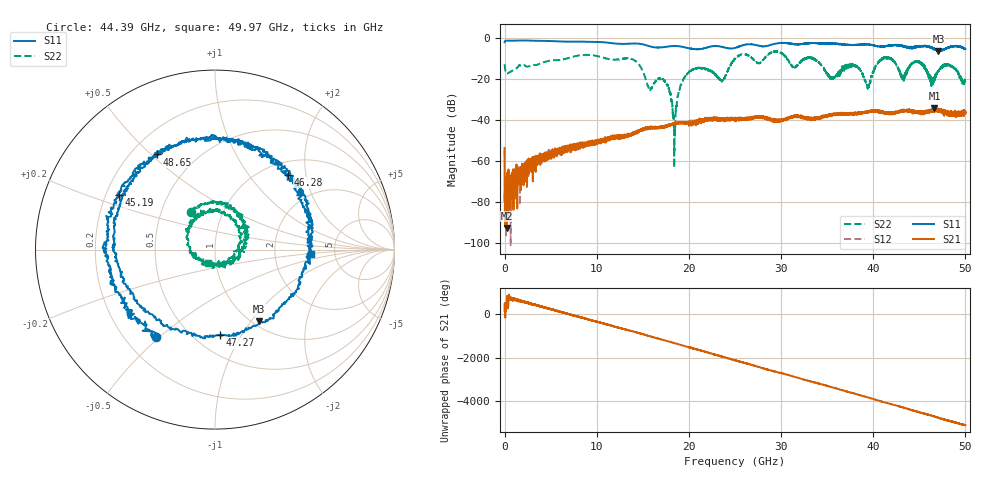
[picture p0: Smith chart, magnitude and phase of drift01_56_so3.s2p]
!Created with skrf (http://scikit-rf.org).
# Hz S RI R 50.0
!freq ReS11 ImS11 ReS21 ImS21 ReS12 ImS12 ReS22 ImS22
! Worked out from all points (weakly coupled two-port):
!   10001 points, 300 kHz to 50 GHz, reference 50 ohm
!   highest |S21| = -34.34 dB at 46.64 GHz (marker M1); lowest = -92.7 dB at 235.3 MHz (marker M2)
!   lowest |S11| = -6.6 dB at 47.08 GHz (marker M3), VSWR 2.77, Z = 53.6 - j54.9 ohm
!   |S11| at or under -10 dB: nowhere
!   |S22| runs from -63.3 to -6.6 dB; largest |S21 - S12| = 0.0043
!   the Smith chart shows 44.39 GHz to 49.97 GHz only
!   S11 on the Smith chart (normalised r, x): 44.39 GHz: 0.33, -0.49; 45.19 GHz: 0.25, +0.25; 46.28 GHz: 1.25, +1.59; 47.27 GHz: 0.66, -0.82; 48.65 GHz: 0.30, +0.52; 49.97 GHz: 3.31, -0.24
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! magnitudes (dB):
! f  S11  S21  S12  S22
! 300 kHz  -2.2  -53.6  -54.3  -12.9
! 235.3 MHz  -1.4  -92.7  -71.5  -17.5
! 8.335 GHz  -1.9  -52.1  -52.1  -8.5
! 16.67 GHz  -4.8  -44.1  -43.7  -20.0
! 17.74 GHz  -4.3  -42.6  -43.2  -24.2
! 18.45 GHz  -4.0  -41.9  -41.7  -45.7
! 19.95 GHz  -5.1  -41.6  -41.4  -17.0
! 23.62 GHz  -4.5  -39.9  -39.4  -20.9
! 25 GHz  -5.0  -39.4  -39.4  -10.3
! 33.34 GHz  -2.6  -39.4  -39.3  -10.0
! 39.44 GHz  -3.4  -36.5  -36.0  -23.8
! 41.67 GHz  -3.8  -36.7  -36.7  -10.0
! 43.2 GHz  -3.9  -35.3  -35.6  -20.9
! 44.39 GHz  -4.6  -35.7  -36.2  -12.1
! 45.19 GHz  -4.2  -36.0  -36.3  -12.5
! 46.28 GHz  -4.7  -35.4  -35.4  -21.3
! 46.64 GHz  -5.6  -34.3  -35.2  -20.1
! 47.08 GHz  -6.6  -35.0  -35.4  -16.4
! 47.27 GHz  -6.4  -35.6  -35.2  -15.1
! 48.65 GHz  -4.1  -36.9  -37.3  -14.2
! 49.97 GHz  -5.4  -36.6  -36.8  -21.5
! 50 GHz  -5.5  -36.3  -36.4  -21.6
